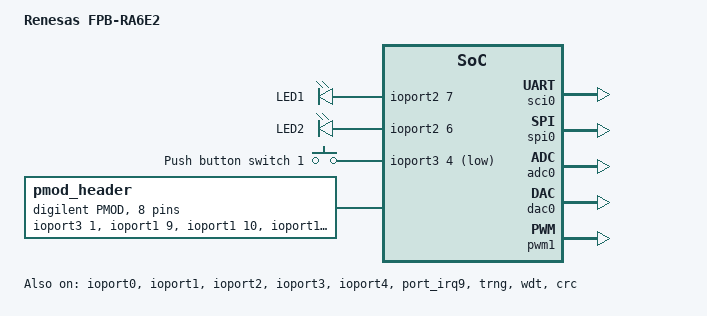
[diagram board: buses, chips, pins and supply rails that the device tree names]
/*
 * Copyright (c) 2024-2026 Renesas Electronics Corporation
 * SPDX-License-Identifier: Apache-2.0
 */

/dts-v1/;

#include <renesas/ra/ra6/r7fa6e2bb3cfm.dtsi>
#include <zephyr/dt-bindings/gpio/gpio.h>
#include <zephyr/dt-bindings/input/input-event-codes.h>
#include <zephyr/dt-bindings/adc/adc.h>

#include "fpb_ra6e2-pinctrl.dtsi"

/ {
	model = "Renesas FPB-RA6E2";
	compatible = "renesas,ra6e2", "renesas,ra";

	chosen {
		zephyr,sram = &sram0;
		zephyr,flash = &code_flash;
		zephyr,console = &uart0;
		zephyr,shell-uart = &uart0;
		zephyr,entropy = &trng;
		zephyr,crc = &crc;
	};

	leds {
		compatible = "gpio-leds";

		led1: led1 {
			gpios = <&ioport2 7 GPIO_ACTIVE_HIGH>;
			label = "LED1";
		};

		led2: led2 {
			gpios = <&ioport2 6 GPIO_ACTIVE_HIGH>;
			label = "LED2";
		};
	};

	buttons {
		compatible = "gpio-keys";

		button0: s1 {
			gpios = <&ioport3 4 (GPIO_PULL_UP | GPIO_ACTIVE_LOW)>;
			label = "Push button switch 1";
			zephyr,code = <INPUT_KEY_0>;
		};
	};

	aliases {
		led0 = &led1;
		led1 = &led2;
		sw0 = &button0;
		watchdog0 = &wdt;
	};

	pmod_header: pmod-header {
		compatible = "digilent,pmod";
		#gpio-cells = <2>;
		gpio-map-mask = <0xffffffff 0xffffffc0>;
		gpio-map-pass-thru = <0 0x3f>;
		gpio-map = <0 0 &ioport3 1 0>,	/* IO1/CS */
			   <1 0 &ioport1 9 0>,	/* IO2/MOSI */
			   <2 0 &ioport1 10 0>,	/* IO3/MISO */
			   <3 0 &ioport1 11 0>,	/* IO4/SCK */
			   <4 0 &ioport4 2 0>,	/* IO5/INT */
			   <5 0 &ioport0 5 0>,	/* IO6/RESET */
			   <6 0 &ioport1 7 0>,	/* IO7/CS2 */
			   <7 0 &ioport1 6 0>;	/* IO8/CS3 */
	};
};

&sci0 {
	pinctrl-0 = <&sci0_default>;
	pinctrl-names = "default";
	status = "okay";

	uart0: uart {
		current-speed = <115200>;
		status = "okay";
	};
};

pmod_spi: &spi0 {
	pinctrl-0 = <&spi0_default>;
	pinctrl-names = "default";
	status = "okay";
};

&ioport0 {
	status = "okay";
};

&ioport1 {
	status = "okay";
};

&ioport2 {
	status = "okay";
};

&ioport3 {
	status = "okay";
};

&ioport4 {
	status = "okay";
};

&code_flash {
	partitions {
		#address-cells = <1>;
		#size-cells = <1>;
		ranges;

		storage_partition: partition@0 {
			compatible = "zephyr,mapped-partition";
			label = "storage";
			reg = <0x0 DT_SIZE_K(4)>;
		};
	};
};

&subclk {
	status = "okay";
};

&pll {
	clocks = <&hoco>;
	div = <1>;
	mul = <10 0>;
	status = "okay";
};

&adc0 {
	status = "okay";
	pinctrl-0 = <&adc0_default>;
	pinctrl-names = "default";
};

&dac0 {
	pinctrl-0 = <&dac0_default>;
	pinctrl-names = "default";
	status = "okay";
};

&port_irq9 {
	interrupts = <41 12>;
	status = "okay";
};

&pwm1 {
	pinctrl-0 = <&pwm1_default>;
	pinctrl-names = "default";
	interrupts = <63 1>, <64 1>;
	interrupt-names = "gtioca", "overflow";
	divider = <RA_PWM_SOURCE_DIV_256>;
	status = "okay";
};

&trng {
	status = "okay";
};

&wdt {
	status = "okay";
};

&crc {
	status = "okay";
};
